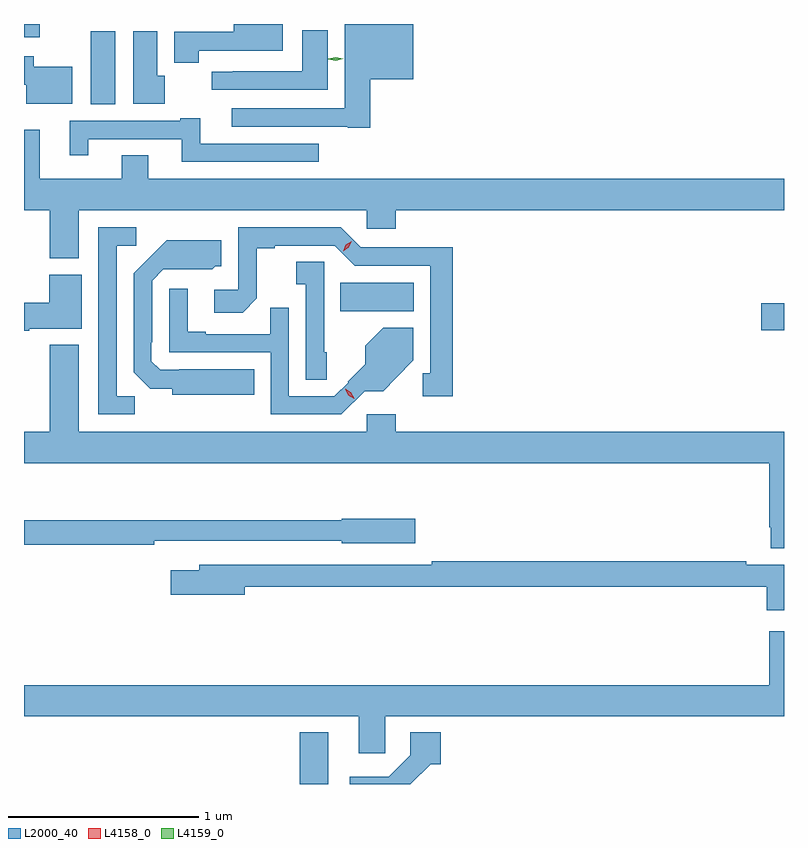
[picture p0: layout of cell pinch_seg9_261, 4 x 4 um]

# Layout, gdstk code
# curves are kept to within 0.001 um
import gdstk
lib = gdstk.Library(unit=1e-6, precision=1e-09)
def R(c, l, rs):  # rectangles x0, y0, x1, y1
    for r in rs: c.add(gdstk.rectangle(r[:2], r[2:], *l))
def P(c, l, *ps):  # polygons
    for p in ps: c.add(gdstk.Polygon(p, *l))
L2000_40 = (2000, 40)
L4158_0 = (4158, 0)
L4159_0 = (4159, 0)

pinch_seg9_261 = lib.new_cell('pinch_seg9_261')
R(pinch_seg9_261, L2000_40, [(504.563,1226.699,504.715,1226.971), (506.994,1229.087,507.113,1229.229), (504.778,1229.186,505.165,1229.338), (503.465,1230.276,503.593,1230.661), (503.113,1230.63,503.197,1230.699)])
P(pinch_seg9_261, L2000_40, [(504.935,1230.407),(505.162,1230.407),(505.162,1230.699),(504.8,1230.699),(504.8,1230.255),(504.207,1230.255),(504.207,1230.159),(504.818,1230.159),(504.818,1230.154),(504.935,1230.154)],
  [(504.034,1230.557),(504.475,1230.557),(504.475,1230.697),(504.216,1230.697),(504.216,1230.658),(503.904,1230.658),(503.904,1230.494),(504.034,1230.494)],
  [(504.712,1230.667),(504.578,1230.667),(504.578,1230.45),(504.211,1230.45),(504.211,1230.448),(504.101,1230.448),(504.101,1230.354),(504.712,1230.354)],
  [(503.854,1230.426),(503.815,1230.426),(503.815,1230.661),(503.687,1230.661),(503.687,1230.278),(503.854,1230.278)],
  [(503.368,1230.475),(503.164,1230.475),(503.164,1230.529),(503.113,1230.529),(503.113,1230.378),(503.126,1230.378),(503.126,1230.278),(503.368,1230.278)],
  [(504.664,1230.069),(504.04,1230.069),(504.04,1230.202),(503.936,1230.202),(503.936,1230.189),(503.354,1230.189),(503.354,1230.009),(503.452,1230.009),(503.452,1230.093),(503.942,1230.093),(503.942,1229.973),(504.664,1229.973)],
  [(503.401,1229.72),(504.918,1229.72),(504.918,1229.622),(505.07,1229.622),(505.07,1229.72),(507.113,1229.72),(507.113,1229.884),(503.767,1229.884),(503.767,1230.008),(503.627,1230.008),(503.627,1229.884),(503.197,1229.884),(503.197,1230.142),(503.113,1230.142),(503.113,1229.72),(503.249,1229.72),(503.249,1229.465),(503.401,1229.465)],
  [(505.369,1229.525),(505.118,1229.525),(505.118,1229.523),(504.885,1229.523),(504.78,1229.628),(504.24,1229.628),(504.24,1229.301),(504.114,1229.301),(504.114,1229.18),(504.264,1229.18),(504.339,1229.255),(504.339,1229.52),(504.433,1229.52),(504.433,1229.532),(504.748,1229.532),(504.853,1229.427),(505.25,1229.427),(505.25,1228.86),(505.212,1228.86),(505.212,1228.74),(505.369,1228.74)],
  [(503.697,1228.739),(503.601,1228.739),(503.601,1229.532),(503.704,1229.532),(503.704,1229.628),(503.505,1229.628),(503.505,1228.644),(503.697,1228.644)],
  [(504.326,1228.882),(503.929,1228.882),(503.929,1228.878),(503.829,1228.878),(503.784,1228.923),(503.784,1229.023),(503.787,1229.023),(503.787,1229.349),(503.847,1229.409),(504.104,1229.408),(504.12,1229.424),(504.151,1229.424),(504.151,1229.56),(503.863,1229.56),(503.691,1229.386),(503.691,1228.866),(503.777,1228.78),(503.894,1228.78),(503.894,1228.748),(504.326,1228.748)],
  [(504.707,1228.971),(504.693,1228.971),(504.693,1229.447),(504.546,1229.447),(504.546,1229.329),(504.597,1229.329),(504.597,1228.827),(504.707,1228.827)],
  [(503.14,1229.096),(503.416,1229.096),(503.416,1229.38),(503.246,1229.38),(503.246,1229.231),(503.113,1229.231),(503.113,1229.084),(503.14,1229.084)],
  [(504.907,1228.767),(505.003,1228.767),(505.076,1228.84),(505.074,1228.841),(505.162,1228.929),(505.162,1229.101),(505.003,1229.101),(504.908,1229.006),(504.908,1228.907),(504.816,1228.815),(504.819,1228.812),(504.747,1228.74),(504.507,1228.74),(504.507,1229.206),(504.409,1229.206),(504.409,1229.067),(504.07,1229.067),(504.07,1229.08),(503.974,1229.08),(503.974,1229.305),(503.877,1229.305),(503.877,1228.971),(504.411,1228.971),(504.411,1228.644),(504.784,1228.644)],
  [(507.113,1228.552),(505.07,1228.552),(505.07,1228.645),(504.918,1228.645),(504.918,1228.552),(503.401,1228.552),(503.401,1229.011),(503.249,1229.011),(503.249,1228.552),(503.113,1228.552),(503.113,1228.388),(507.036,1228.388),(507.036,1228.051),(507.044,1228.051),(507.044,1227.939),(507.113,1227.939)],
  [(503.798,1227.978),(504.786,1227.978),(504.786,1227.965),(505.171,1227.965),(505.171,1228.095),(504.786,1228.095),(504.786,1228.087),(503.113,1228.087),(503.113,1227.958),(503.798,1227.958)],
  [(507.113,1227.852),(506.914,1227.852),(506.914,1227.872),(505.258,1227.872),(505.258,1227.852),(504.035,1227.852),(504.035,1227.823),(503.886,1227.823),(503.886,1227.694),(504.274,1227.694),(504.274,1227.736),(507.021,1227.736),(507.021,1227.614),(507.113,1227.614)],
  [(505.014,1227.056),(507.113,1227.056),(507.113,1227.502),(507.036,1227.502),(507.036,1227.22),(503.113,1227.22),(503.113,1227.056),(504.875,1227.056),(504.875,1226.862),(505.014,1226.862)],
  [(505.253,1226.804),(505.307,1226.804),(505.307,1226.971),(505.146,1226.971),(505.146,1226.85),(505.032,1226.736),(504.827,1226.736),(504.827,1226.699),(505.147,1226.699)])
P(pinch_seg9_261, L4158_0, [(504.85,1228.727),(504.819,1228.746),(504.803,1228.779),(504.803,1228.779),(504.803,1228.779),(504.834,1228.76),(504.851,1228.728),(504.851,1228.727)],
  [(504.792,1229.503),(504.792,1229.504),(504.807,1229.536),(504.837,1229.556),(504.838,1229.556),(504.838,1229.555),(504.822,1229.523),(504.792,1229.503)])
P(pinch_seg9_261, L4159_0, [(504.754,1230.505),(504.715,1230.514),(504.715,1230.515),(504.715,1230.515),(504.754,1230.525),(504.793,1230.516),(504.793,1230.516),(504.793,1230.515)])

lib.write_gds('pinch_seg9_261.gds')
